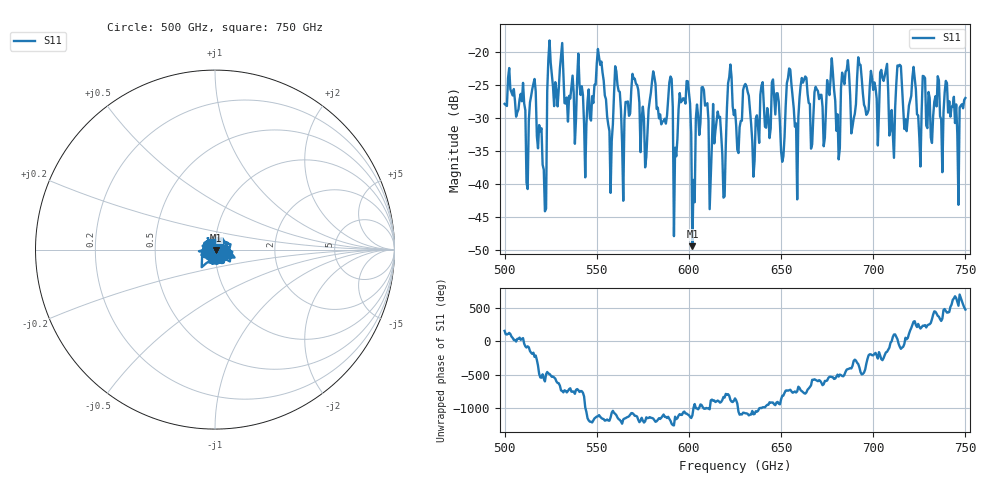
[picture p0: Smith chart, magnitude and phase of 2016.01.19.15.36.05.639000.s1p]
!Created with skrf (http://scikit-rf.org).
# GHz S RI R 50.0
!freq ReS11 ImS11
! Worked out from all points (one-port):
!   401 points, 500 GHz to 750 GHz, reference 50 ohm
!   lowest |S11| = -49.4 dB at 601.9 GHz (marker M1), VSWR 1.01, Z = 50.3 - j0.145 ohm
!   |S11| at or under -10 dB: start of sweep to end of sweep
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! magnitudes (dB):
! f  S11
! 500 GHz  -27.8
! 512.5 GHz  -40.8
! 515.6 GHz  -24.8
! 521.2 GHz  -37.8
! 524.4 GHz  -18.2
! 531.2 GHz  -18.6
! 543.8 GHz  -39.0
! 551.2 GHz  -20.8
! 557.5 GHz  -41.4
! 562.5 GHz  -26.0
! 593.8 GHz  -33.2
! 599.4 GHz  -24.4
! 601.9 GHz  -49.4
! 608.1 GHz  -25.7
! 618.8 GHz  -42.1
! 621.9 GHz  -23.8
! 625 GHz  -28.8
! 646.2 GHz  -26.8
! 650.6 GHz  -36.6
! 656.2 GHz  -26.6
! 658.1 GHz  -30.8
! 662.5 GHz  -24.2
! 687.5 GHz  -26.6
! 706.2 GHz  -23.6
! 710 GHz  -28.8
! 713.8 GHz  -22.1
! 718.8 GHz  -30.0
! 750 GHz  -27.0
